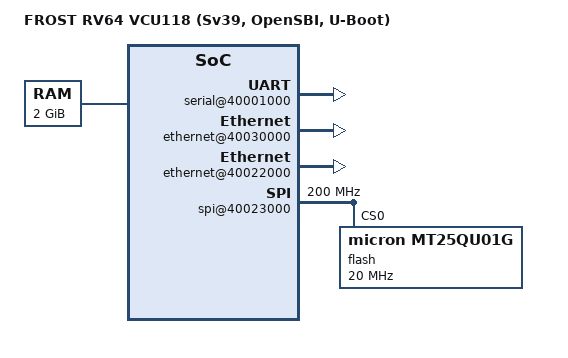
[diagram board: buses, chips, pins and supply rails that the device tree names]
// SPDX-License-Identifier: Apache-2.0
/*
 * Copyright 2026 John Goodacre
 *
 * Device Tree Source for FROST on AMD VCU118 Evaluation Board
 * Target: rv64imafdc, OpenSBI, U-Boot, Linux
 */

/dts-v1/;

/ {
	#address-cells = <0x02>;
	#size-cells = <0x02>;
	compatible = "frost,rv64", "frost";
	model = "FROST RV64 VCU118 (Sv39, OpenSBI, U-Boot)";

	chosen {
		stdout-path = "/soc@0/serial@40001000:115200";
		bootargs = "console=ttyS0,115200 earlycon";
	};

	cpus {
		#address-cells = <0x01>;
		#size-cells = <0x00>;
		timebase-frequency = <200000000>;

		cpu@0 {
			device_type = "cpu";
			reg = <0x00>;
			status = "okay";
			compatible = "riscv";
			mmu-type = "riscv,sv39";
			riscv,isa-base = "rv64i";
			riscv,isa = "rv64imafdc_zicsr_zifencei_zicntr_zicboz_zba_zbb_zbc_zbs_zbkb_zbkc_zicond_zihintpause_smaia_ssaia_sscofpmf_sstc_svade_svvptc";
			riscv,isa-extensions = "i", "m", "a", "f", "d", "c",
				"zicsr", "zifencei", "zicntr", "zicboz", "zba", "zbb",
				"zbc", "zbs", "zbkb", "zbkc", "zicond", "zihintpause",
				"smaia", "ssaia", "sscofpmf", "sstc", "svade", "svvptc";
			/* cbo.zero zeroes one 64-byte L2 line. */
			riscv,cboz-block-size = <64>;

			cpu0_intc: interrupt-controller {
				#interrupt-cells = <0x01>;
				interrupt-controller;
				compatible = "riscv,cpu-intc";
				phandle = <0x01>;
			};
		};
	};

	memory@80000000 {
		device_type = "memory";
		reg = <0x00000000 0x80000000
		       0x00000000 0x80000000>; /* 2 GiB DDR4 */
	};

	pmu {
		compatible = "riscv,pmu";
		/* Counter N counts its fixed event with mhpmeventN=N: 3 retired
		 * branches, 4 branch mispredictions, 5 ITLB walks, 6 DTLB walks,
		 * 7 L1D misses, 8 SQ-full cycles, 9 cycles, 10 retired
		 * instructions. With Sscofpmf, OpenSBI places cycles and
		 * instructions on counters 9 and 10, which overflow and filter by
		 * privilege; the fixed counters 0 and 2 do neither. Raw translation
		 * events sit above the counter numbers: 16 = page-walker busy
		 * cycles (counter 8), 17 = SFENCE.VMA TLB invalidates (counter 7),
		 * 18 = CSR-requested TLB invalidates (counter 4). */
		riscv,event-to-mhpmcounters = <0x00000001 0x00000001 0x00000200>,
				      <0x00000002 0x00000002 0x00000400>,
				      <0x00000004 0x00000004 0x00000080>,
				      <0x00000005 0x00000005 0x00000008>,
				      <0x00000006 0x00000006 0x00000010>,
				      <0x00010021 0x00010021 0x00000020>;
		riscv,event-to-mhpmevent = <0x00000001 0x00000000 0x00000009>,
				   <0x00000002 0x00000000 0x0000000a>,
				   <0x00000004 0x00000000 0x00000007>,
				   <0x00000005 0x00000000 0x00000003>,
				   <0x00000006 0x00000000 0x00000004>,
				   <0x00010021 0x00000000 0x00000005>;
		riscv,raw-event-to-mhpmcounters = <0x0 0x3 0xffffffff 0xffffffff 0x08>,
				       <0x0 0x4 0xffffffff 0xffffffff 0x10>,
				       <0x0 0x5 0xffffffff 0xffffffff 0x20>,
				       <0x0 0x6 0xffffffff 0xffffffff 0x40>,
				       <0x0 0x7 0xffffffff 0xffffffff 0x80>,
				       <0x0 0x8 0xffffffff 0xffffffff 0x100>,
				       <0x0 0x9 0xffffffff 0xffffffff 0x200>,
				       <0x0 0xa 0xffffffff 0xffffffff 0x400>,
				       <0x0 0x10 0xffffffff 0xffffffff 0x100>,
				       <0x0 0x11 0xffffffff 0xffffffff 0x80>,
				       <0x0 0x12 0xffffffff 0xffffffff 0x10>;
	};

	soc@0 {
		#address-cells = <0x01>;
		#size-cells = <0x01>;
		compatible = "simple-bus";
		ranges = <0x00000000 0x00000000 0x00000000 0x80000000>;

		serial@40001000 {
			compatible = "ns16550a";
			reg = <0x40001000 0x100>;
			reg-shift = <0x02>;
			reg-io-width = <0x04>;
			clock-frequency = <200000000>;
			interrupt-parent = <&aplic_s>;
			interrupts = <1 4>;
		};

		clint@40010000 {
			compatible = "sifive,clint0", "riscv,clint0";
			reg = <0x40010000 0xc000>;
			interrupts-extended = <&cpu0_intc 3 &cpu0_intc 7>;
		};

		imsic_m: interrupt-controller@48000000 {
			compatible = "frost,imsics", "riscv,imsics";
			reg = <0x48000000 0x00001000>;
			interrupt-controller;
			#interrupt-cells = <0>;
			msi-controller;
			#msi-cells = <0>;
			interrupts-extended = <&cpu0_intc 11>;
			riscv,num-ids = <63>;
		};

		imsic_s: interrupt-controller@48100000 {
			compatible = "frost,imsics", "riscv,imsics";
			reg = <0x48100000 0x00001000>;
			interrupt-controller;
			#interrupt-cells = <0>;
			msi-controller;
			#msi-cells = <0>;
			interrupts-extended = <&cpu0_intc 9>;
			riscv,num-ids = <63>;
		};

		aplic_m: interrupt-controller@44000000 {
			compatible = "frost,aplic", "riscv,aplic";
			reg = <0x44000000 0x00008000>;
			#interrupt-cells = <0x02>;
			#address-cells = <0x00>;
			interrupt-controller;
			riscv,num-sources = <5>;
			msi-parent = <&imsic_m>;
			riscv,children = <&aplic_s>;
			riscv,delegation = <&aplic_s 1 5>;
		};

		aplic_s: interrupt-controller@44008000 {
			compatible = "frost,aplic", "riscv,aplic";
			reg = <0x44008000 0x00008000>;
			#interrupt-cells = <0x02>;
			#address-cells = <0x00>;
			interrupt-controller;
			riscv,num-sources = <5>;
			msi-parent = <&imsic_s>;
		};

		dma-test-engine@40020000 {
			compatible = "frost,dma-test-engine";
			reg = <0x40020000 0x1000>;
			interrupt-parent = <&aplic_s>;
			interrupts = <3 4>;
		};

		memory-controller@40021000 {
			compatible = "frost,memory-error";
			reg = <0x40021000 0x100>;
			interrupt-parent = <&aplic_s>;
			interrupts = <5 4>;
		};

		/* 10Gb Ethernet MAC (QSFP28 Cage) */
		ethernet@40030000 {
			compatible = "frost,net10g";
			reg = <0x40030000 0x1000>;
			interrupt-parent = <&aplic_s>;
			interrupts = <4 4>;
			dma-coherent;
			local-mac-address = [02 11 22 33 44 55];
			clock-frequency = <200000000>;
		};

		/* 1Gb SGMII Ethernet MAC (RJ-45) */
		ethernet@40022000 {
			compatible = "frost,net10g";
			reg = <0x40022000 0x1000>;
			interrupt-parent = <&aplic_s>;
			interrupts = <2 4>;
			dma-coherent;
			local-mac-address = [02 11 22 33 44 56];
			clock-frequency = <200000000>;
		};

		/* SPI NOR Flash Controller (Micron MT25QU01G via STARTUPE3) */
		spi@40023000 {
			compatible = "frost,boot-spi";
			reg = <0x40023000 0x1000>;
			clock-frequency = <200000000>;
			#address-cells = <1>;
			#size-cells = <0>;

			flash@0 {
				compatible = "micron,mt25qu01g", "jedec,spi-nor";
				reg = <0>;
				spi-max-frequency = <20000000>;
			};
		};
	};
};
